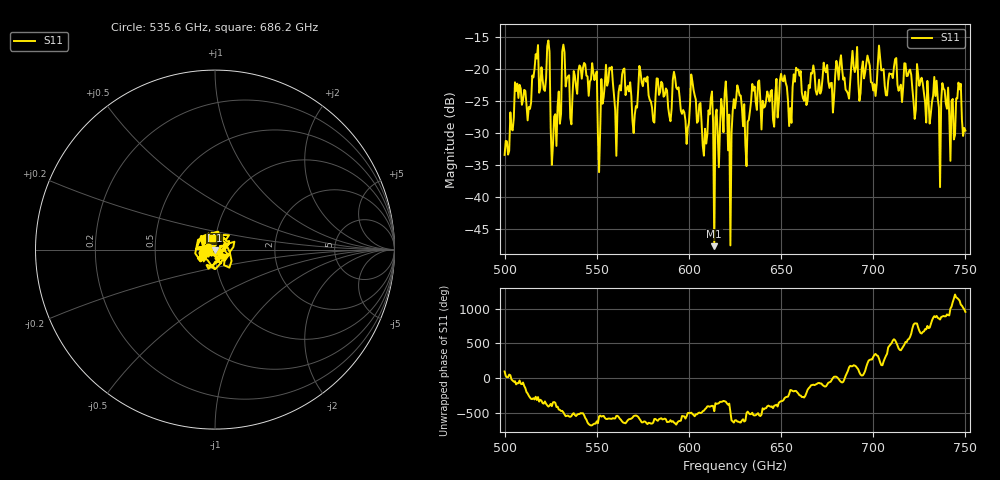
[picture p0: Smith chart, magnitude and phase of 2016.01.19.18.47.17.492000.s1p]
!Created with skrf (http://scikit-rf.org).
# GHz S RI R 50.0
!freq ReS11 ImS11
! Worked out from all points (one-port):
!   401 points, 500 GHz to 750 GHz, reference 50 ohm
!   lowest |S11| = -47.6 dB at 613.8 GHz (marker M1), VSWR 1.01, Z = 49.8 - j0.383 ohm
!   |S11| at or under -10 dB: start of sweep to end of sweep
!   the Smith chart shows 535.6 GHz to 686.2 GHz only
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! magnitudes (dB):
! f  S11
! 500 GHz  -33.4
! 506.9 GHz  -22.2
! 513.1 GHz  -25.9
! 516.9 GHz  -17.6
! 523.1 GHz  -16.4
! 526.9 GHz  -27.4
! 531.2 GHz  -17.3
! 548.8 GHz  -21.7
! 551.9 GHz  -29.4
! 556.2 GHz  -21.9
! 560.6 GHz  -33.5
! 562.5 GHz  -22.5
! 570.6 GHz  -27.1
! 574.4 GHz  -22.0
! 580 GHz  -26.0
! 593.8 GHz  -23.1
! 613.8 GHz  -47.6
! 619.4 GHz  -23.8
! 622.5 GHz  -47.5
! 625 GHz  -26.1
! 631.9 GHz  -28.2
! 635 GHz  -23.3
! 656.2 GHz  -22.8
! 687.5 GHz  -21.8
! 718.8 GHz  -21.0
! 743.1 GHz  -24.6
! 746.2 GHz  -22.1
! 750 GHz  -29.6
